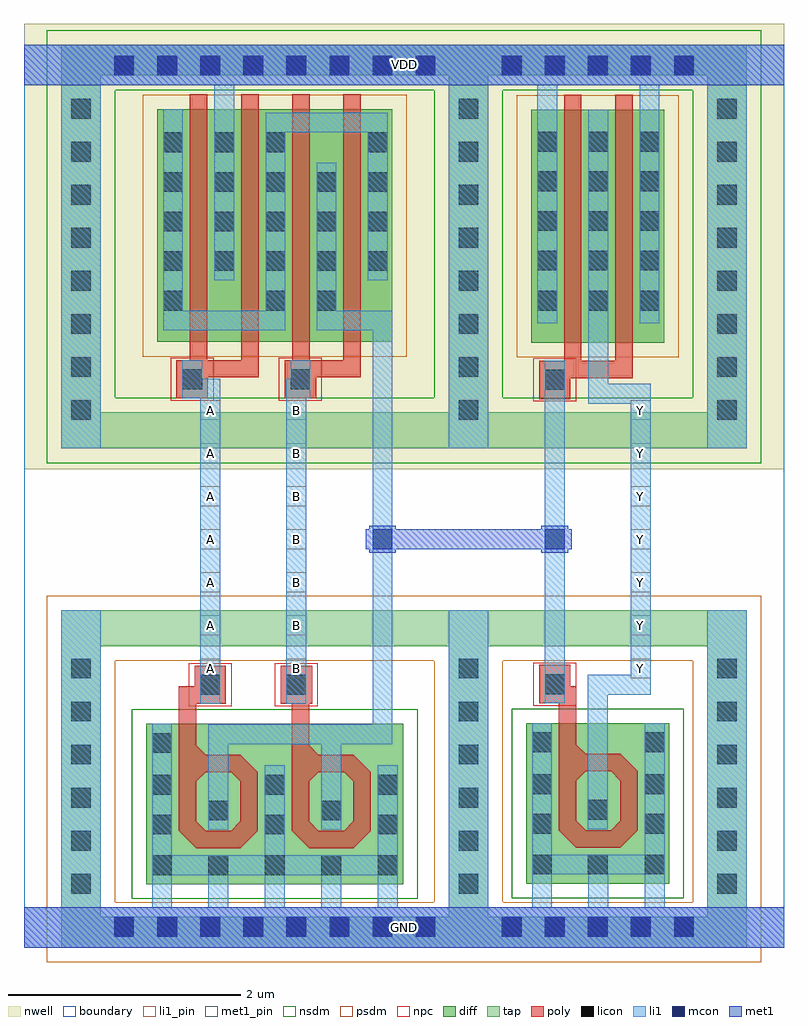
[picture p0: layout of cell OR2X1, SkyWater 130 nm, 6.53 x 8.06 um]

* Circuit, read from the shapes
.subckt OR2X1 A B GND VDD Y
XM1 GND A n1 GND sky130_fd_pr__nfet_01v8 w=2.56 l=0.1455
XM2 GND B n1 GND sky130_fd_pr__nfet_01v8 w=2.56 l=0.1492
XM3 GND n1 Y GND sky130_fd_pr__nfet_01v8 w=2.56 l=0.1516
XM4 VDD A n2 VDD sky130_fd_pr__pfet_01v8 w=2 l=0.15 m=2
XM5 n1 B n2 VDD sky130_fd_pr__pfet_01v8 w=2 l=0.15 m=2
XM6 Y n1 VDD VDD sky130_fd_pr__pfet_01v8 w=2 l=0.15 m=2
.ends

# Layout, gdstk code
from math import pi, radians
import gdstk
lib = gdstk.Library(unit=1e-6, precision=1e-09)
def R(c, l, rs):  # rectangles x0, y0, x1, y1
    for r in rs: c.add(gdstk.rectangle(r[:2], r[2:], *l))
def A(c, l, x, y, w, h, nx, ny, dx, dy):  # array of equal rectangles
    R(c, l, [(x+i*dx, y+j*dy, x+i*dx+w, y+j*dy+h) for i in range(nx) for j in range(ny)])
def P(c, l, *ps):  # polygons
    for p in ps: c.add(gdstk.Polygon(p, *l))
nwell = (64, 20)
diff = (65, 20)
tap = (65, 44)
poly = (66, 20)
licon = (66, 44)
li1_pin = (67, 16)
li1 = (67, 20)
mcon = (67, 44)
met1_pin = (68, 16)
met1 = (68, 20)
nsdm = (93, 44)
psdm = (94, 20)
npc = (95, 20)
boundary = (235, 4)

diff_ring_side = lib.new_cell('diff_ring_side')
R(diff_ring_side, nwell, [(-0.435,3.93,0.435,7.75)])
R(diff_ring_side, tap, [(-0.17,-0.17,0.17,2.72), (-0.17,4.11,0.17,7.57)])
A(diff_ring_side, licon, -0.085, 0.285, 0.17, 0.17, 1, 6, 0, 0.37)
A(diff_ring_side, licon, -0.085, 4.355, 0.17, 0.17, 1, 8, 0, 0.37)
R(diff_ring_side, li1, [(-0.17,-0.17,0.17,2.72), (-0.17,4.11,0.17,7.57)])
R(diff_ring_side, met1, [(-0.17,-0.17,0.17,0.17), (-0.17,7.23,0.17,7.57)])
R(diff_ring_side, nsdm, [(-0.295,3.985,0.295,7.695)])
R(diff_ring_side, psdm, [(-0.295,-0.295,0.295,2.845)])

nmos_top_trim1 = lib.new_cell('nmos_top_trim1')
R(nmos_top_trim1, diff, [(0,0,1.24,1.38)])
R(nmos_top_trim1, poly, [(0.43,0.31,0.81,0.46), (0.28,0.46,0.43,0.965), (0.81,0.46,0.96,0.965), (0.43,0.965,0.96,1.115), (0.81,1.115,0.96,1.545)])
P(nmos_top_trim1, poly, [(0.73,1.115),(0.81,1.115),(0.81,1.195)],
  [(0.28,0.965),(0.43,0.965),(0.43,1.115)],
  [(0.43,0.885),(0.43,0.965),(0.51,0.965)],
  [(0.73,0.965),(0.81,0.965),(0.81,0.885)],
  [(0.43,0.54),(0.43,0.46),(0.51,0.46)],
  [(0.73,0.46),(0.81,0.46),(0.81,0.54)],
  [(0.28,0.46),(0.43,0.46),(0.43,0.31)],
  [(0.81,0.31),(0.81,0.46),(0.96,0.46)])
A(nmos_top_trim1, licon, 0.05, 0.08, 0.17, 0.17, 3, 1, 0.485, 0)
R(nmos_top_trim1, licon, [(0.05,0.43,0.22,0.6), (1.02,0.43,1.19,0.6), (0.535,0.55,0.705,0.72), (0.05,0.77,0.22,0.94), (1.02,0.77,1.19,0.94), (1.02,1.13,1.19,1.3)])
R(nmos_top_trim1, li1, [(0.05,0,0.22,0.08), (1.02,0,1.19,0.08), (0.05,0.08,1.19,0.25), (0.05,0.25,0.22,1.02), (1.02,0.25,1.19,1.38), (0.535,0.47,0.705,0.805)])
R(nmos_top_trim1, nsdm, [(-0.125,-0.125,1.365,1.505)])

pmos2_1 = lib.new_cell('pmos2_1')
R(pmos2_1, nwell, [(0.26,-2.175,1.76,0.185)])
R(pmos2_1, diff, [(0.44,-1.995,1.58,0.005)])
R(pmos2_1, poly, [(0.72,-2.3,1.31,-2.15), (0.72,-2.15,0.87,0.135), (1.16,-2.15,1.31,0.135)])
A(pmos2_1, licon, 0.49, -1.385, 0.17, 0.17, 3, 3, 0.44, 0.34)
A(pmos2_1, li1, 0.49, -1.465, 0.17, 1.01, 3, 1, 0.44, 0)
R(pmos2_1, psdm, [(0.315,-2.12,1.705,0.13)])

poly_li1_contact = lib.new_cell('poly_li1_contact')
R(poly_li1_contact, poly, [(-0.16,-0.14,0.17,0.13)])
R(poly_li1_contact, licon, [(-0.08,-0.09,0.09,0.08)])
R(poly_li1_contact, li1, [(-0.16,-0.09,0.17,0.08)])
R(poly_li1_contact, npc, [(-0.18,-0.19,0.19,0.18)])

nmos_top_trim2 = lib.new_cell('nmos_top_trim2')
R(nmos_top_trim2, diff, [(0,0,1.24,1.38)])
R(nmos_top_trim2, poly, [(0.43,0.31,0.81,0.46), (0.28,0.46,0.43,0.89), (0.81,0.46,0.96,0.89), (0.28,0.89,0.435,0.965), (0.805,0.89,0.96,0.965), (0.43,0.965,0.96,1.115), (0.81,1.115,0.96,1.545)])
P(nmos_top_trim2, poly, [(0.73,1.115),(0.81,1.115),(0.81,1.195)],
  [(0.28,0.965),(0.43,0.965),(0.43,1.115)],
  [(0.435,0.89),(0.435,0.965),(0.51,0.965)],
  [(0.73,0.965),(0.805,0.965),(0.805,0.89)],
  [(0.43,0.54),(0.43,0.46),(0.51,0.46)],
  [(0.73,0.46),(0.81,0.46),(0.81,0.54)],
  [(0.28,0.46),(0.43,0.46),(0.43,0.31)],
  [(0.81,0.31),(0.81,0.46),(0.96,0.46)])
A(nmos_top_trim2, licon, 0.05, 0.08, 0.17, 0.17, 3, 1, 0.485, 0)
R(nmos_top_trim2, licon, [(0.05,0.43,0.22,0.6), (1.02,0.43,1.19,0.6), (0.535,0.55,0.705,0.72), (0.05,0.77,0.22,0.94), (1.02,0.77,1.19,0.94)])
R(nmos_top_trim2, li1, [(0.05,0,0.22,0.08), (1.02,0,1.19,0.08), (0.05,0.08,1.19,0.25), (0.05,0.25,0.22,1.025), (1.02,0.25,1.19,1.025), (0.535,0.47,0.705,0.805)])
R(nmos_top_trim2, nsdm, [(-0.125,-0.125,1.365,1.505)])

nor2x1_pcell = lib.new_cell('nor2x1_pcell')
R(nor2x1_pcell, nwell, [(0.435,3.93,2.895,7.75)])
A(nor2x1_pcell, diff, 0.705, 6.655, 0.17, 0.17, 3, 1, 0.44, 0)
R(nor2x1_pcell, diff, [(0.705,5.295,0.875,5.465), (1.585,5.295,1.755,5.465), (2.025,5.295,2.195,5.465), (2.465,6.655,2.635,6.825)])
R(nor2x1_pcell, tap, [(0.17,-0.17,3.16,0.085), (0.17,2.41,3.16,2.72), (0.17,4.11,3.16,4.42), (0.17,7.315,3.16,7.57)])
R(nor2x1_pcell, poly, [(0.84,1.875,0.99,2.065), (1.81,1.91,1.96,1.915)])
A(nor2x1_pcell, licon, 0.285, -0.085, 0.17, 0.17, 8, 2, 0.37, 7.4)
A(nor2x1_pcell, licon, 0.705, 6.655, 0.17, 0.17, 3, 1, 0.44, 0)
R(nor2x1_pcell, licon, [(0.705,5.295,0.875,5.465), (1.585,5.295,1.755,5.465), (2.025,5.295,2.195,5.465), (2.465,6.655,2.635,6.825)])
A(nor2x1_pcell, li1, 0.61, 0.17, 0.17, 0.195, 3, 1, 0.97, 0)
R(nor2x1_pcell, li1, [(0.17,-0.17,3.16,0.17), (1.095,0.17,1.265,0.445), (2.065,0.17,2.235,0.445), (1.095,1.165,1.265,1.57), (2.065,1.165,2.235,1.57), (1.095,1.57,2.675,1.74), (2.505,1.74,2.675,5.125), (1.025,2.165,1.195,4.71), (1.765,2.165,1.785,2.205), (1.765,2.205,1.935,4.54), (1.765,4.54,1.805,4.71), (0.705,5.125,1.755,5.295), (2.025,5.125,2.675,5.295), (0.705,5.295,0.875,5.555), (1.585,5.295,1.755,5.555), (2.025,5.295,2.195,5.555), (0.705,6.565,0.875,7.025), (1.145,6.565,1.315,7.23), (1.585,6.565,1.755,6.825), (2.465,6.565,2.635,6.825), (1.585,6.825,2.635,6.995), (0.17,7.23,3.16,7.57)])
A(nor2x1_pcell, mcon, 0.285, -0.085, 0.17, 0.17, 8, 2, 0.37, 7.4)
R(nor2x1_pcell, met1, [(0.17,-0.17,3.16,0.17), (0.17,7.23,3.16,7.57)])
R(nor2x1_pcell, nsdm, [(0.045,3.985,3.285,4.545), (0.045,7.19,3.285,7.695)])
R(nor2x1_pcell, psdm, [(0.045,-0.295,3.285,0.21), (0.045,2.285,3.285,2.845), (0.58,5.17,1,5.59), (1.46,5.17,2.32,5.59), (0.58,6.53,1.88,6.95), (2.34,6.53,2.76,6.95)])
nor2x1_pcell.add(gdstk.Reference(diff_ring_side, (0,0)))
nor2x1_pcell.add(gdstk.Reference(nmos_top_trim1, (1.8,0.365), rotation=pi, x_reflection=True))
nor2x1_pcell.add(gdstk.Reference(pmos2_1, (0.215,7.02)))
nor2x1_pcell.add(gdstk.Reference(poly_li1_contact, (0.96,4.71), rotation=3*pi/2))
nor2x1_pcell.add(gdstk.Reference(poly_li1_contact, (1.115,2.085), rotation=3*pi/2))
nor2x1_pcell.add(gdstk.Reference(nmos_top_trim2, (2.77,0.365), rotation=pi, x_reflection=True))
nor2x1_pcell.add(gdstk.Reference(pmos2_1, (1.095,7.02)))
nor2x1_pcell.add(gdstk.Reference(poly_li1_contact, (1.845,2.075), rotation=pi/2))
nor2x1_pcell.add(gdstk.Reference(poly_li1_contact, (1.89,4.71), rotation=3*pi/2))
nor2x1_pcell.add(gdstk.Reference(diff_ring_side, (3.33,0)))

li1_m1_contact = lib.new_cell('li1_M1_contact')
R(li1_m1_contact, li1, [(-0.085,-0.165,0.085,0.165)])
R(li1_m1_contact, mcon, [(-0.085,-0.085,0.085,0.085)])
R(li1_m1_contact, met1, [(-0.115,-0.115,0.115,-0.085), (-0.265,-0.085,0.145,0.085), (-0.115,0.085,0.115,0.115)])

pmos2 = lib.new_cell('pmos2')
R(pmos2, nwell, [(0.26,-2.18,1.76,0.18)])
R(pmos2, diff, [(0.44,-2,1.58,0)])
R(pmos2, poly, [(0.72,-2.305,1.31,-2.155), (0.72,-2.155,0.87,0.13), (1.16,-2.155,1.31,0.13)])
A(pmos2, licon, 0.49, -1.38, 0.17, 0.17, 3, 4, 0.44, 0.34)
R(pmos2, li1, [(0.49,-1.465,0.66,0.21), (0.93,-1.465,1.1,0), (1.37,-1.465,1.54,0.21)])
R(pmos2, psdm, [(0.315,-2.125,1.705,0.125)])

nmos_top = lib.new_cell('nmos_top')
R(nmos_top, diff, [(0,0,1.23,1.38)])
R(nmos_top, poly, [(0.42,0.31,0.8,0.46), (0.27,0.46,0.42,0.965), (0.8,0.46,0.95,0.965), (0.42,0.965,0.95,1.115), (0.8,1.115,0.95,1.54)])
P(nmos_top, poly, [(0.72,1.115),(0.8,1.115),(0.8,1.195)],
  [(0.27,0.965),(0.42,0.965),(0.42,1.115)],
  [(0.42,0.885),(0.42,0.965),(0.5,0.965)],
  [(0.72,0.965),(0.8,0.965),(0.8,0.885)],
  [(0.42,0.54),(0.42,0.46),(0.5,0.46)],
  [(0.72,0.46),(0.8,0.46),(0.8,0.54)],
  [(0.27,0.46),(0.42,0.46),(0.42,0.31)],
  [(0.8,0.31),(0.8,0.46),(0.95,0.46)])
R(nmos_top, licon, [(0.04,0.08,0.21,0.25), (0.53,0.08,0.7,0.25), (1.01,0.08,1.18,0.25), (0.04,0.43,0.21,0.6), (1.01,0.43,1.18,0.6), (0.53,0.55,0.7,0.72), (0.04,0.77,0.21,0.94), (1.01,0.77,1.18,0.94), (0.04,1.13,0.21,1.3), (1.01,1.13,1.18,1.3)])
R(nmos_top, li1, [(0.04,0,0.21,0.08), (1.01,0,1.18,0.08), (0.04,0.08,1.18,0.25), (0.04,0.25,0.21,1.38), (1.01,0.25,1.18,1.38), (0.53,0.47,0.7,0.805)])
R(nmos_top, nsdm, [(-0.125,-0.125,1.355,1.505)])

invx1_pcell = lib.new_cell('invx1_pcell')
R(invx1_pcell, nwell, [(-0.435,3.93,2.655,7.75)])
A(invx1_pcell, diff, 0.59, 5.295, 0.17, 0.17, 3, 1, 0.44, 0)
R(invx1_pcell, tap, [(0.17,-0.17,2.05,0.085), (0.17,2.41,2.05,2.72), (0.17,4.11,2.05,4.42), (0.17,7.315,2.05,7.57)])
R(invx1_pcell, poly, [(0.775,1.905,0.925,2.065)])
A(invx1_pcell, licon, 0.285, -0.085, 0.17, 0.17, 5, 2, 0.37, 7.4)
A(invx1_pcell, licon, 0.59, 5.295, 0.17, 0.17, 3, 1, 0.44, 0)
R(invx1_pcell, li1, [(0.17,-0.17,2.05,0.17), (0.545,0.17,0.715,0.45), (1.03,0.17,1.2,0.455), (1.515,0.17,1.685,0.45), (1.025,1.165,1.195,1.995), (1.025,1.995,1.565,2.165), (1.395,2.165,1.565,4.495), (0.655,2.245,0.825,4.54), (1.03,4.495,1.565,4.665), (1.03,4.665,1.2,5.555), (0.59,5.185,0.76,5.555), (1.47,5.185,1.64,5.555), (0.17,7.23,2.05,7.57)])
A(invx1_pcell, mcon, 0.285, -0.085, 0.17, 0.17, 5, 2, 0.37, 7.4)
R(invx1_pcell, met1, [(0.17,-0.17,2.05,0.17), (0.17,7.23,2.05,7.57)])
R(invx1_pcell, nsdm, [(0.045,3.985,2.175,4.545), (0.045,7.19,2.175,7.695)])
R(invx1_pcell, psdm, [(0.045,-0.295,2.175,0.21), (0.045,2.285,2.175,2.845), (0.465,5.17,1.765,5.59)])
invx1_pcell.add(gdstk.Reference(poly_li1_contact, (0.735,2.08), rotation=pi/2))
invx1_pcell.add(gdstk.Reference(poly_li1_contact, (0.745,4.705), rotation=3*pi/2))
invx1_pcell.add(gdstk.Reference(pmos2, (0.1,7.02)))
invx1_pcell.add(gdstk.Reference(nmos_top, (1.725,0.37), rotation=pi, x_reflection=True))
invx1_pcell.add(gdstk.Reference(diff_ring_side, (0,0)))
invx1_pcell.add(gdstk.Reference(diff_ring_side, (2.22,0)))

or2x1_pcell = lib.new_cell('or2x1_pcell')
R(or2x1_pcell, met1, [(2.735,3.245,3.805,3.415)])
or2x1_pcell.add(gdstk.Reference(nor2x1_pcell, (0,0)))
or2x1_pcell.add(gdstk.Reference(li1_m1_contact, (4.07,3.33)))
or2x1_pcell.add(gdstk.Reference(li1_m1_contact, (2.59,3.33), rotation=pi))
or2x1_pcell.add(gdstk.Reference(invx1_pcell, (3.33,0)))

or2x1 = lib.new_cell('OR2X1')
R(or2x1, nwell, [(0,4.11,6.53,7.94)])
R(or2x1, tap, [(0.32,0,6.21,0.055), (0.32,7.75,6.21,7.76)])
A(or2x1, li1_pin, 1.515, 2.315, 0.17, 0.17, 1, 7, 0, 0.37)
A(or2x1, li1_pin, 2.255, 2.315, 0.17, 0.17, 1, 7, 0, 0.37)
A(or2x1, li1_pin, 5.215, 2.315, 0.17, 0.17, 1, 7, 0, 0.37)
A(or2x1, li1, 1.515, 2.315, 0.17, 0.17, 1, 7, 0, 0.37)
A(or2x1, li1, 2.255, 2.315, 0.17, 0.17, 1, 7, 0, 0.37)
A(or2x1, li1, 5.215, 2.315, 0.17, 0.17, 1, 7, 0, 0.37)
R(or2x1, li1, [(0,0,6.53,0.055), (0,0.055,0.32,0.35), (6.21,0.055,6.53,0.35), (0,7.41,0.32,7.75), (6.21,7.41,6.53,7.75), (0,7.75,6.53,7.76)])
R(or2x1, met1_pin, [(0,0,6.53,0.35), (0,7.41,6.53,7.76)])
R(or2x1, met1, [(0,0,6.53,0.35), (0,7.41,6.53,7.76)])
R(or2x1, nsdm, [(0.195,7.625,6.335,7.885)])
R(or2x1, psdm, [(0.195,-0.125,6.335,0.18)])
R(or2x1, boundary, [(0,0,6.53,7.76)])
or2x1.add(gdstk.Reference(or2x1_pcell, (0.49,0.18)))
or2x1.add(gdstk.Label('Y', (5.3,4.62), layer=67, texttype=5))
or2x1.add(gdstk.Label('Y', (5.3,4.25), layer=67, texttype=5))
or2x1.add(gdstk.Label('Y', (5.3,3.88), layer=67, texttype=5))
or2x1.add(gdstk.Label('Y', (5.3,3.51), layer=67, texttype=5))
or2x1.add(gdstk.Label('Y', (5.3,3.14), layer=67, texttype=5))
or2x1.add(gdstk.Label('Y', (5.3,2.77), layer=67, texttype=5))
or2x1.add(gdstk.Label('Y', (5.3,2.4), layer=67, texttype=5))
or2x1.add(gdstk.Label('A', (1.6,2.4), layer=67, texttype=5))
or2x1.add(gdstk.Label('A', (1.6,2.77), layer=67, texttype=5))
or2x1.add(gdstk.Label('A', (1.6,3.14), layer=67, texttype=5))
or2x1.add(gdstk.Label('A', (1.6,3.51), layer=67, texttype=5))
or2x1.add(gdstk.Label('A', (1.6,3.88), layer=67, texttype=5))
or2x1.add(gdstk.Label('A', (1.6,4.25), layer=67, texttype=5))
or2x1.add(gdstk.Label('A', (1.6,4.62), layer=67, texttype=5))
or2x1.add(gdstk.Label('B', (2.34,2.4), layer=67, texttype=5))
or2x1.add(gdstk.Label('B', (2.34,2.77), layer=67, texttype=5))
or2x1.add(gdstk.Label('B', (2.34,3.14), layer=67, texttype=5))
or2x1.add(gdstk.Label('B', (2.34,3.51), layer=67, texttype=5))
or2x1.add(gdstk.Label('B', (2.34,3.88), layer=67, texttype=5))
or2x1.add(gdstk.Label('B', (2.34,4.25), layer=67, texttype=5))
or2x1.add(gdstk.Label('B', (2.34,4.62), layer=67, texttype=5))
or2x1.add(gdstk.Label('VDD', (3.265,7.585), layer=68, texttype=5))
or2x1.add(gdstk.Label('GND', (3.265,0.175), layer=68, texttype=5))

lib.write_gds('OR2X1.gds')
